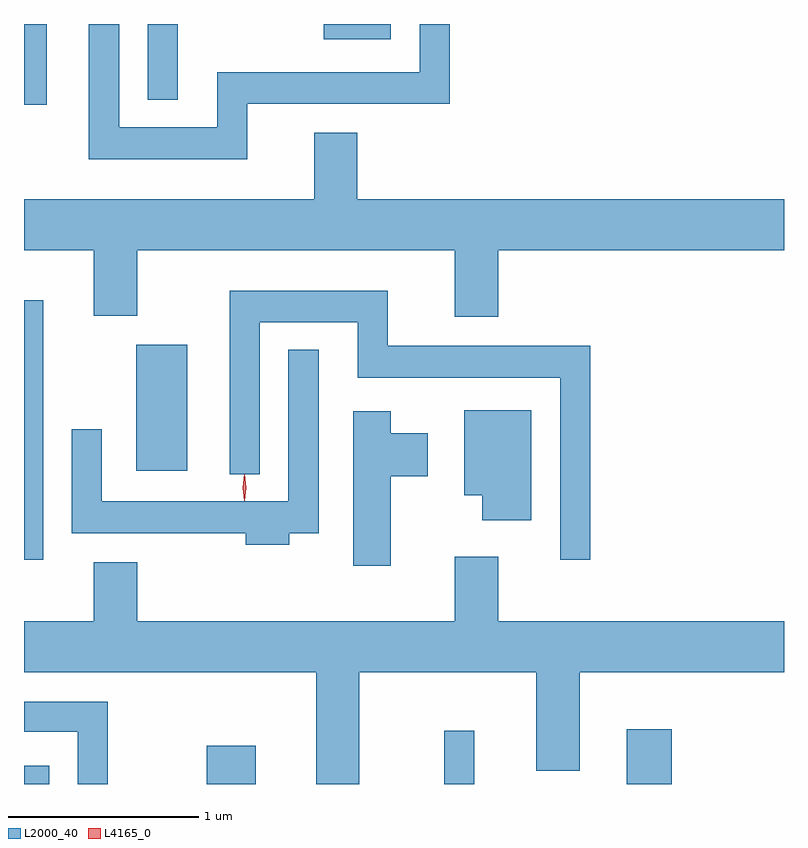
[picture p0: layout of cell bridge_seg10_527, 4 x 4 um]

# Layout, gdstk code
import gdstk
lib = gdstk.Library(unit=1e-6, precision=1e-09)
def R(c, l, rs):  # rectangles x0, y0, x1, y1
    for r in rs: c.add(gdstk.rectangle(r[:2], r[2:], *l))
def P(c, l, *ps):  # polygons
    for p in ps: c.add(gdstk.Polygon(p, *l))
L2000_40 = (2000, 40)
L4165_0 = (4165, 0)

bridge_seg10_527 = lib.new_cell('bridge_seg10_527')
R(bridge_seg10_527, L2000_40, [(782.624,2164.387,782.758,2164.484), (783.586,2164.387,783.844,2164.589), (784.836,2164.387,784.994,2164.668), (785.796,2164.387,786.034,2164.674), (782.624,2165.568,782.724,2166.934), (783.216,2166.036,783.484,2166.699), (782.624,2167.961,782.744,2168.387), (783.276,2167.988,783.434,2168.387), (784.201,2168.306,784.554,2168.387)])
P(bridge_seg10_527, L2000_40, [(783.799,2167.966),(784.864,2167.966),(784.864,2168.387),(784.706,2168.387),(784.706,2168.134),(783.641,2168.134),(783.641,2167.844),(783.124,2167.844),(783.124,2168.387),(782.966,2168.387),(782.966,2167.676),(783.799,2167.676)],
  [(785.119,2167.196),(786.624,2167.196),(786.624,2167.464),(784.379,2167.464),(784.379,2167.814),(784.151,2167.814),(784.151,2167.464),(782.624,2167.464),(782.624,2167.196),(782.991,2167.196),(782.991,2166.851),(783.219,2166.851),(783.219,2167.196),(784.891,2167.196),(784.891,2166.846),(785.119,2166.846)],
  [(785.604,2166.694),(784.539,2166.694),(784.539,2166.984),(783.706,2166.984),(783.706,2166.018),(783.864,2166.018),(783.864,2166.816),(784.381,2166.816),(784.381,2166.526),(785.446,2166.526),(785.446,2165.568),(785.604,2165.568)],
  [(784.019,2165.706),(784.174,2165.706),(784.174,2166.673),(784.016,2166.673),(784.016,2165.874),(783.034,2165.874),(783.034,2166.253),(782.876,2166.253),(782.876,2165.706),(783.791,2165.706),(783.791,2165.646),(784.019,2165.646)],
  [(785.294,2166.354),(784.941,2166.354),(784.941,2165.906),(785.036,2165.906),(785.036,2165.776),(785.294,2165.776)],
  [(784.554,2166.006),(784.749,2166.006),(784.749,2166.234),(784.554,2166.234),(784.554,2166.349),(784.356,2166.349),(784.356,2165.536),(784.554,2165.536)],
  [(784.389,2164.976),(785.321,2164.976),(785.321,2164.456),(785.549,2164.456),(785.549,2164.976),(786.624,2164.976),(786.624,2165.244),(785.119,2165.244),(785.119,2165.584),(784.891,2165.584),(784.891,2165.244),(783.219,2165.244),(783.219,2165.554),(782.991,2165.554),(782.991,2165.244),(782.624,2165.244),(782.624,2164.976),(784.161,2164.976),(784.161,2164.387),(784.389,2164.387)],
  [(783.064,2164.819),(782.624,2164.819),(782.624,2164.661),(782.906,2164.661),(782.906,2164.387),(783.064,2164.387)])
P(bridge_seg10_527, L4165_0, [(783.785,2165.877),(783.784,2165.878),(783.775,2165.946),(783.784,2166.016),(783.785,2166.016),(783.786,2166.016),(783.795,2165.946),(783.786,2165.878)])

lib.write_gds('bridge_seg10_527.gds')
